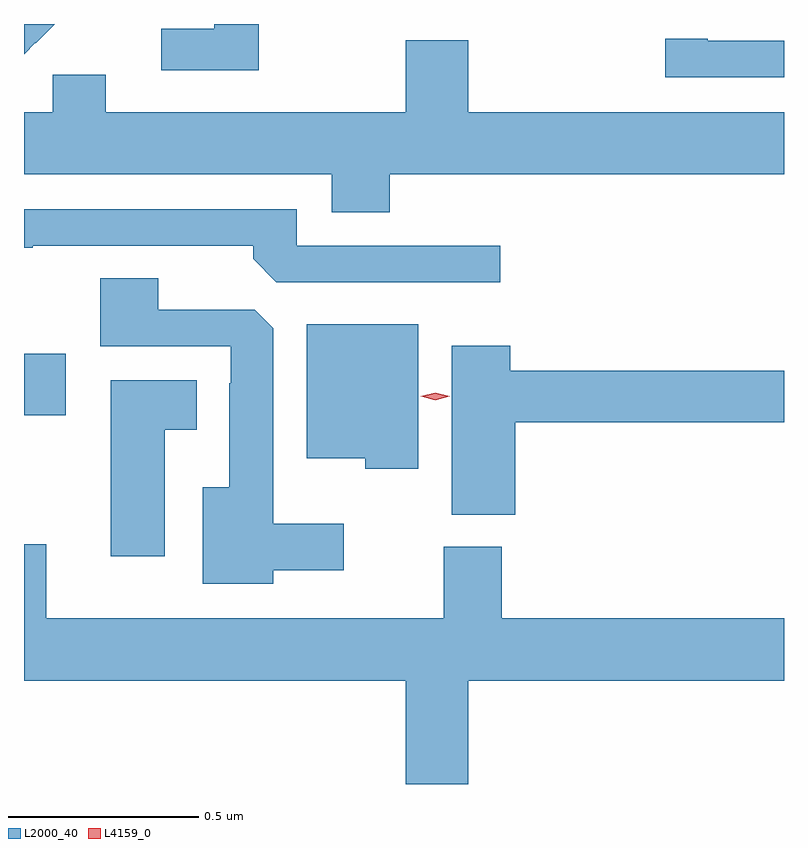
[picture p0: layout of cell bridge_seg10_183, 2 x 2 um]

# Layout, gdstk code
import gdstk
lib = gdstk.Library(unit=1e-6, precision=1e-09)
def R(c, l, rs):  # rectangles x0, y0, x1, y1
    for r in rs: c.add(gdstk.rectangle(r[:2], r[2:], *l))
def P(c, l, *ps):  # polygons
    for p in ps: c.add(gdstk.Polygon(p, *l))
L2000_40 = (2000, 40)
L4159_0 = (4159, 0)

bridge_seg10_183 = lib.new_cell('bridge_seg10_183')
R(bridge_seg10_183, L2000_40, [(175.991,1293.022,176.101,1293.184)])
P(bridge_seg10_183, L2000_40, [(176.021,1294.003),(176.022,1294.002),(176.072,1294.052),(175.991,1294.052),(175.991,1293.973)],
  [(176.609,1294.052),(176.492,1294.052),(176.492,1294.039),(176.352,1294.039),(176.352,1293.93),(176.609,1293.93)],
  [(177.991,1294.008),(177.79,1294.008),(177.79,1294.013),(177.678,1294.013),(177.678,1293.912),(177.991,1293.912)],
  [(176.954,1293.656),(177.991,1293.656),(177.991,1293.82),(177.16,1293.82),(177.16,1294.009),(176.996,1294.009),(176.996,1293.82),(176.206,1293.82),(176.206,1293.918),(176.067,1293.918),(176.067,1293.82),(175.991,1293.82),(175.991,1293.656),(176.801,1293.656),(176.801,1293.557),(176.954,1293.557)],
  [(177.244,1293.468),(176.709,1293.468),(176.709,1293.564),(175.991,1293.564),(175.991,1293.463),(176.014,1293.463),(176.014,1293.468),(176.594,1293.468),(176.594,1293.434),(176.655,1293.372),(177.244,1293.372)],
  [(176.647,1292.615),(176.833,1292.615),(176.833,1292.737),(176.647,1292.737),(176.647,1293.251),(176.598,1293.3),(176.344,1293.3),(176.344,1293.383),(176.192,1293.383),(176.192,1293.204),(176.535,1293.204),(176.535,1293.107),(176.531,1293.107),(176.531,1292.833),(176.462,1292.833),(176.462,1292.579),(176.647,1292.579)],
  [(177.028,1293.262),(176.735,1293.262),(176.735,1292.909),(176.889,1292.909),(176.889,1292.882),(177.028,1292.882)],
  [(177.284,1293.004),(177.991,1293.004),(177.991,1293.14),(177.271,1293.14),(177.271,1293.205),(177.116,1293.205),(177.116,1292.761),(177.284,1292.761)],
  [(176.362,1292.984),(176.446,1292.984),(176.446,1293.115),(176.219,1293.115),(176.219,1292.652),(176.362,1292.652)],
  [(177.16,1292.324),(177.991,1292.324),(177.991,1292.488),(177.248,1292.488),(177.248,1292.676),(177.095,1292.676),(177.095,1292.488),(176.05,1292.488),(176.05,1292.683),(175.991,1292.683),(175.991,1292.324),(176.996,1292.324),(176.996,1292.052),(177.16,1292.052)])
P(bridge_seg10_183, L4159_0, [(177.073,1293.062),(177.035,1293.072),(177.035,1293.072),(177.035,1293.072),(177.073,1293.082),(177.111,1293.072),(177.111,1293.072),(177.111,1293.072)])

lib.write_gds('bridge_seg10_183.gds')
